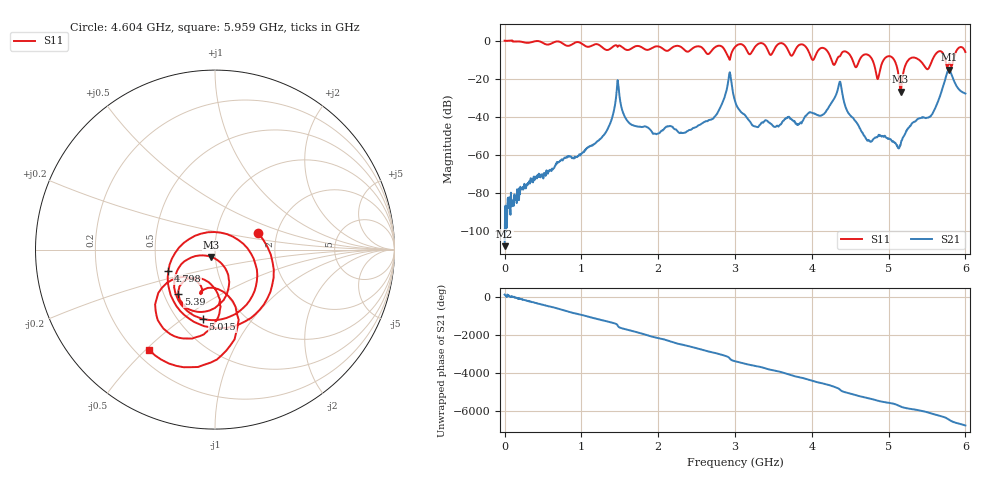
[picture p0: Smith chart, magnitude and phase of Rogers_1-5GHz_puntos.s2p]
! NanoVNA-App
! Date: 2025-10-01 20:10:30
! Start: 10kHz Stop: 6GHz Points: 1024
! S-Parameter data: F S11 S21 S12 S22
# Hz S RI R 50
!  Frequency  S11_Real  S11_Imag  S21_Real  S21_Imag  S12_Real  S12_Imag  S22_Real  S22_Imag
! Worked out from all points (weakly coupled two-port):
!   1024 points, 10 kHz to 6 GHz, reference 50 ohm
!   highest |S21| = -15.25 dB at 5.783 GHz (marker M1); lowest = -108.1 dB at 10 kHz (marker M2)
!   lowest |S11| = -26.7 dB at 5.155 GHz (marker M3), VSWR 1.10, Z = 47.7 - j3.89 ohm
!   |S11| at or under -10 dB: 4.788 GHz to 4.937 GHz (149 MHz wide, 3.07 % of centre); 5.071 GHz to 5.26 GHz (189.4 MHz wide, 3.67 % of centre); 5.395 GHz to 5.571 GHz (175.9 MHz wide, 3.21 % of centre)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
!   S12 and S22 are empty: the file has one direction only
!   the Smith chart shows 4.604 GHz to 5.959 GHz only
!   S11 on the Smith chart (normalised r, x): 4.604 GHz: 1.59, +0.31; 4.798 GHz: 0.57, -0.15; 5.015 GHz: 0.66, -0.60; 5.39 GHz: 0.59, -0.33; 5.959 GHz: 0.25, -0.51
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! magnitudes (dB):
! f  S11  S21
! 10 kHz  0.0  -108.1
! 1.003 GHz  -1.5  -59.2
! 1.326 GHz  -4.8  -47.7
! 1.472 GHz  -3.2  -20.7
! 1.619 GHz  -4.8  -43.1
! 2 GHz  -3.0  -48.8
! 2.71 GHz  -4.6  -41.1
! 2.927 GHz  -9.8  -17.1
! 3.003 GHz  -3.2  -32.1
! 3.273 GHz  -2.7  -45.2
! 4.006 GHz  -9.9  -37.9
! 4.364 GHz  -8.2  -21.6
! 4.604 GHz  -11.8  -44.4
! 4.798 GHz  -10.9  -51.9
! 5.003 GHz  -8.1  -51.5
! 5.015 GHz  -8.1  -51.8
! 5.155 GHz  -26.7  -55.0
! 5.39 GHz  -9.9  -40.9
! 5.572 GHz  -9.9  -38.4
! 5.783 GHz  -11.9  -15.3
! 5.959 GHz  -3.5  -27.0
! 6 GHz  -5.9  -27.8
